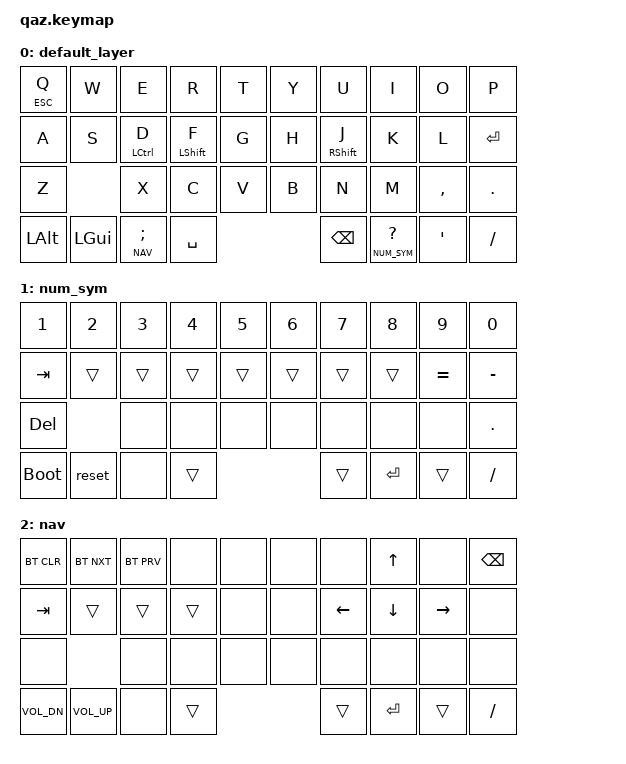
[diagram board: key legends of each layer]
/*
 * Copyright (c) 2020 The ZMK Contributors
 *
 * SPDX-License-Identifier: MIT
 */

#include <behaviors.dtsi>
#include <dt-bindings/zmk/keys.h>
#include <dt-bindings/zmk/bt.h>

#define DEFAULT 0
#define NUM_SYM 1
#define NAV     2

/ {
    behaviors {
        hm: homerow_mods {
            compatible = "zmk,behavior-hold-tap";
            label = "homerow mods";
            #binding-cells = <2>;
            tapping-term-ms = <225>;
            flavor = "tap-preferred";
            bindings = <&kp>, <&kp>;
        };
    };
};

/ {
    keymap {
        compatible = "zmk,keymap";

        default_layer {
            bindings = <
    &lt ESC Q      &kp W      &kp E       &kp R       &kp T  &kp Y  &kp U       &kp I       &kp O      &kp P
    &kp A &kp S &hm LCTRL D &hm LSHFT F &kp G  &kp H  &hm RSHFT J &kp K &kp L &kp RET
    &kp Z                 &kp X       &kp C       &kp V  &kp B  &kp N       &kp M       &kp COMMA  &kp DOT
    &kp LALT  &kp LGUI   &lt NAV SEMI      &kp SPACE    &kp BSPC   &lt NUM_SYM QMARK   &kp SQT    &kp FSLH
            >;
        };
        num_sym {
            bindings = <
    &kp N1     &kp N2     &kp N3     &kp N4     &kp N5 &kp N6 &kp N7     &kp N8      &kp N9    &kp N0
    &kp TAB     &trans     &trans     &trans     &trans &trans &trans     &trans      &kp EQUAL &kp MINUS
    &kp DEL               &none      &none      &none  &none  &none      &none       &none     &kp DOT
    &bootloader &reset    &none         &trans        &trans             &kp RET     &trans    &kp FSLH
            >;
        };

    nav {
            bindings = <
    &bt BT_CLR &bt BT_NXT &bt BT_PRV &none       &none &none &none       &kp UP       &none     &kp BSPC
    &kp TAB     &trans     &trans     &trans      &none &none &kp LEFT    &kp DOWN     &kp RIGHT &none
    &none                 &none      &none       &none &none &none       &none        &none     &none
    &kp C_VOL_DN      &kp C_VOL_UP      &none         &trans        &trans             &kp RET      &trans    &kp FSLH
            >;
        };
    };
};
